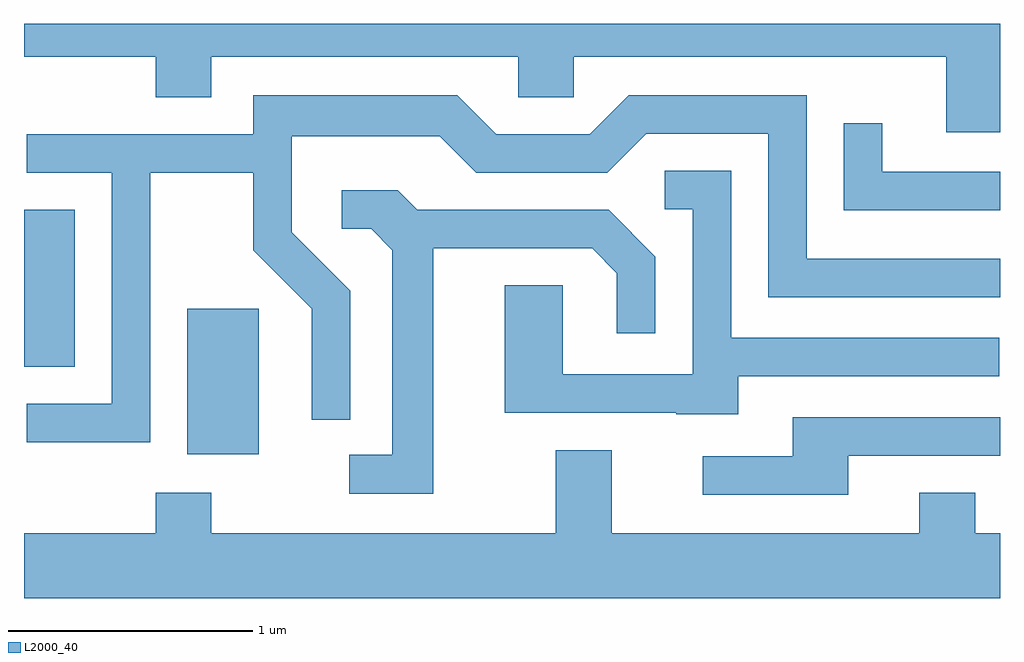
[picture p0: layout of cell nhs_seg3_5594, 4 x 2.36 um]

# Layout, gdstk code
import gdstk
lib = gdstk.Library(unit=1e-6, precision=1e-09)
def R(c, l, rs):  # rectangles x0, y0, x1, y1
    for r in rs: c.add(gdstk.rectangle(r[:2], r[2:], *l))
def P(c, l, *ps):  # polygons
    for p in ps: c.add(gdstk.Polygon(p, *l))
L2000_40 = (2000, 40)

nhs_seg3_5594 = lib.new_cell('nhs_seg3_5594')
R(nhs_seg3_5594, L2000_40, [(350.281,1162.126,350.574,1162.724), (349.611,1162.486,349.819,1163.129)])
P(nhs_seg3_5594, L2000_40, [(353.611,1163.892),(349.611,1163.892),(349.611,1163.756),(350.151,1163.756),(350.151,1163.591),(350.379,1163.591),(350.379,1163.756),(351.636,1163.756),(351.636,1163.591),(351.864,1163.591),(351.864,1163.756),(353.391,1163.756),(353.391,1163.446),(353.611,1163.446)],
  [(350.129,1163.281),(350.551,1163.281),(350.551,1162.964),(350.791,1162.724),(350.791,1162.268),(350.949,1162.268),(350.949,1162.797),(350.709,1163.037),(350.709,1163.431),(351.314,1163.431),(351.464,1163.281),(352.002,1163.281),(352.162,1163.441),(352.661,1163.441),(352.661,1162.771),(353.611,1162.771),(353.611,1162.929),(352.819,1162.929),(352.819,1163.599),(352.089,1163.599),(351.929,1163.439),(351.547,1163.439),(351.387,1163.599),(350.551,1163.599),(350.551,1163.439),(349.623,1163.439),(349.623,1163.281),(349.971,1163.281),(349.971,1162.334),(349.623,1162.334),(349.623,1162.176),(350.129,1162.176)],
  [(353.611,1163.284),(353.129,1163.284),(353.129,1163.483),(352.971,1163.483),(352.971,1163.126),(353.611,1163.126)],
  [(352.539,1162.446),(353.608,1162.446),(353.608,1162.604),(352.509,1162.604),(352.509,1163.289),(352.238,1163.289),(352.238,1163.131),(352.351,1163.131),(352.351,1162.454),(351.819,1162.454),(351.819,1162.819),(351.581,1162.819),(351.581,1162.296),(352.285,1162.296),(352.285,1162.291),(352.539,1162.291)],
  [(351.289,1162.971),(351.939,1162.971),(352.041,1162.869),(352.041,1162.623),(352.199,1162.623),(352.199,1162.937),(352.007,1163.129),(351.222,1163.129),(351.142,1163.209),(350.913,1163.209),(350.913,1163.051),(351.034,1163.051),(351.121,1162.964),(351.121,1162.124),(350.943,1162.124),(350.943,1161.966),(351.289,1161.966)],
  [(352.989,1162.121),(353.611,1162.121),(353.611,1162.279),(352.761,1162.279),(352.761,1162.119),(352.393,1162.119),(352.393,1161.961),(352.989,1161.961)],
  [(353.611,1161.804),(353.509,1161.804),(353.509,1161.969),(353.281,1161.969),(353.281,1161.804),(352.019,1161.804),(352.019,1162.144),(351.791,1162.144),(351.791,1161.804),(350.379,1161.804),(350.379,1161.969),(350.151,1161.969),(350.151,1161.804),(349.611,1161.804),(349.611,1161.536),(353.611,1161.536)])

lib.write_gds('nhs_seg3_5594.gds')
